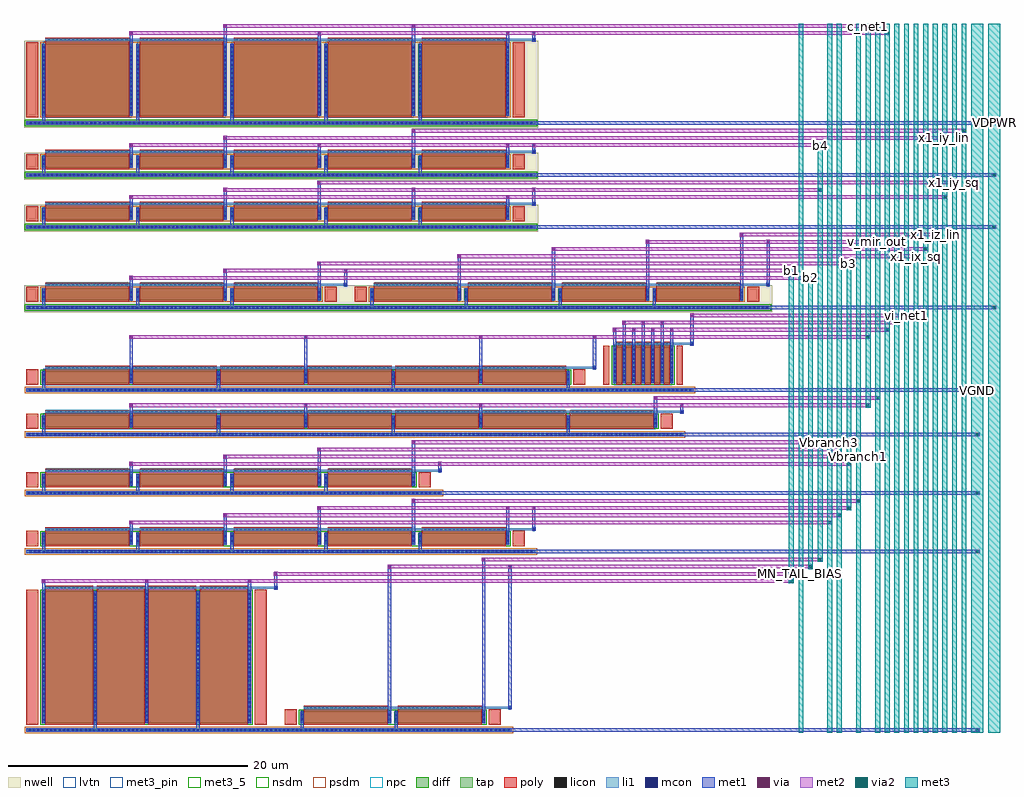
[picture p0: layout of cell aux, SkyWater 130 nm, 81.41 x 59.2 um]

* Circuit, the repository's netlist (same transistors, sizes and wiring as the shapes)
* NGSPICE file created from aux.ext - technology: sky130A

.subckt aux VDPWR VGND MN_TAIL_BIAS Vbranch1 Vbranch2 Vbranch3 x1_iy_lin x1_ix_lin
+ x1_iy_sq x1_ix_sq x1_iz_sq x1_iz_lin v_mir_out vi_vmir vi_net1 vi_net2
X0 vi_vmir vi_vmir VDPWR VDPWR sky130_fd_pr__pfet_01v8_lvt ad=1.74 pd=12.58 as=1.74 ps=12.58 w=6 l=7
X1 b3 b1 VDPWR VDPWR sky130_fd_pr__pfet_01v8 ad=0.29 pd=2.58 as=0.29 ps=2.58 w=1 l=7
X2 b3 b3 VGND VGND sky130_fd_pr__nfet_01v8 ad=0.29 pd=2.58 as=0.29 ps=2.58 w=1 l=7
X3 b2 b1 VDPWR VDPWR sky130_fd_pr__pfet_01v8 ad=0.29 pd=2.58 as=0.29 ps=2.58 w=1 l=7
X4 vi_vmir vi_net1 vi_net2 VGND sky130_fd_pr__nfet_01v8_lvt ad=0.435 pd=3.29 as=0.435 ps=3.29 w=3 l=0.5
X5 x1_ix_lin b4 VDPWR VDPWR sky130_fd_pr__pfet_01v8 ad=0.29 pd=2.58 as=0.29 ps=2.58 w=1 l=7
X6 VGND c_net1 c_net1 VGND sky130_fd_pr__nfet_01v8_lvt ad=0.29 pd=2.58 as=0.145 ps=1.29 w=1 l=7
X7 vi_net2 vi_net1 vi_vmir VGND sky130_fd_pr__nfet_01v8_lvt ad=0.435 pd=3.29 as=0.435 ps=3.29 w=3 l=0.5
X8 Vbranch2 b3 VGND VGND sky130_fd_pr__nfet_01v8 ad=0.29 pd=2.58 as=0.29 ps=2.58 w=1 l=7
X9 b3 b3 VGND VGND sky130_fd_pr__nfet_01v8 ad=0.29 pd=2.58 as=0.29 ps=2.58 w=1 l=7
X10 b4 b2 VGND VGND sky130_fd_pr__nfet_01v8 ad=0.29 pd=2.58 as=0.29 ps=2.58 w=1 l=7
X11 VGND c_net1 c_net1 VGND sky130_fd_pr__nfet_01v8_lvt ad=0.145 pd=1.29 as=0.145 ps=1.29 w=1 l=7
X12 VGND MN_TAIL_BIAS b1 VGND sky130_fd_pr__nfet_01v8 ad=1.595 pd=11.29 as=1.595 ps=11.29 w=11 l=4
X13 VGND c_net1 c_net1 VGND sky130_fd_pr__nfet_01v8_lvt ad=0.145 pd=1.29 as=0.145 ps=1.29 w=1 l=7
X14 x1_iy_sq b4 VDPWR VDPWR sky130_fd_pr__pfet_01v8 ad=0.29 pd=2.58 as=0.29 ps=2.58 w=1 l=7
X15 vi_net2 vi_net1 vi_vmir VGND sky130_fd_pr__nfet_01v8_lvt ad=0.435 pd=3.29 as=0.87 ps=6.58 w=3 l=0.5
X16 c_net1 c_net1 VGND VGND sky130_fd_pr__nfet_01v8_lvt ad=0.145 pd=1.29 as=0.145 ps=1.29 w=1 l=7
X17 Vbranch1 b3 VGND VGND sky130_fd_pr__nfet_01v8 ad=0.29 pd=2.58 as=0.29 ps=2.58 w=1 l=7
X18 x1_iy_lin b4 VDPWR VDPWR sky130_fd_pr__pfet_01v8 ad=0.29 pd=2.58 as=0.29 ps=2.58 w=1 l=7
X19 b1 b1 VDPWR VDPWR sky130_fd_pr__pfet_01v8 ad=0.29 pd=2.58 as=0.29 ps=2.58 w=1 l=7
X20 v_mir_out c_net1 VGND VGND sky130_fd_pr__nfet_01v8_lvt ad=0.29 pd=2.58 as=0.145 ps=1.29 w=1 l=7
X21 b4 b4 VDPWR VDPWR sky130_fd_pr__pfet_01v8 ad=0.29 pd=2.58 as=0.29 ps=2.58 w=1 l=7
X22 VGND c_net1 c_net1 VGND sky130_fd_pr__nfet_01v8_lvt ad=0.145 pd=1.29 as=0.145 ps=1.29 w=1 l=7
X23 x1_iz_lin v_mir_out VDPWR VDPWR sky130_fd_pr__pfet_01v8 ad=0.29 pd=2.58 as=0.29 ps=2.58 w=1 l=7
X24 b1 MN_TAIL_BIAS VGND VGND sky130_fd_pr__nfet_01v8 ad=1.595 pd=11.29 as=1.595 ps=11.29 w=11 l=4
X25 Vbranch1 b3 VGND VGND sky130_fd_pr__nfet_01v8 ad=0.29 pd=2.58 as=0.29 ps=2.58 w=1 l=7
X26 b4 b4 VDPWR VDPWR sky130_fd_pr__pfet_01v8 ad=0.29 pd=2.58 as=0.29 ps=2.58 w=1 l=7
X27 VGND c_net1 c_net1 VGND sky130_fd_pr__nfet_01v8_lvt ad=0.145 pd=1.29 as=0.145 ps=1.29 w=1 l=7
X28 x1_iy_lin b4 VDPWR VDPWR sky130_fd_pr__pfet_01v8 ad=0.29 pd=2.58 as=0.29 ps=2.58 w=1 l=7
X29 c_net1 c_net1 VGND VGND sky130_fd_pr__nfet_01v8_lvt ad=0.145 pd=1.29 as=0.29 ps=2.58 w=1 l=7
X30 vi_net2 vi_net1 vi_vmir VGND sky130_fd_pr__nfet_01v8_lvt ad=0.435 pd=3.29 as=0.435 ps=3.29 w=3 l=0.5
X31 b4 b4 VDPWR VDPWR sky130_fd_pr__pfet_01v8 ad=0.29 pd=2.58 as=0.29 ps=2.58 w=1 l=7
X32 c_net1 c_net1 VGND VGND sky130_fd_pr__nfet_01v8_lvt ad=0.145 pd=1.29 as=0.145 ps=1.29 w=1 l=7
X33 x1_iz_sq v_mir_out VDPWR VDPWR sky130_fd_pr__pfet_01v8 ad=0.29 pd=2.58 as=0.29 ps=2.58 w=1 l=7
X34 vi_vmir vi_vmir VDPWR VDPWR sky130_fd_pr__pfet_01v8_lvt ad=1.74 pd=12.58 as=1.74 ps=12.58 w=6 l=7
X35 vi_vmir vi_net1 vi_net2 VGND sky130_fd_pr__nfet_01v8_lvt ad=0.435 pd=3.29 as=0.435 ps=3.29 w=3 l=0.5
X36 Vbranch3 b3 VGND VGND sky130_fd_pr__nfet_01v8 ad=0.29 pd=2.58 as=0.29 ps=2.58 w=1 l=7
X37 VGND MN_TAIL_BIAS b1 VGND sky130_fd_pr__nfet_01v8 ad=1.595 pd=11.29 as=3.19 ps=22.58 w=11 l=4
X38 b4 b4 VDPWR VDPWR sky130_fd_pr__pfet_01v8 ad=0.29 pd=2.58 as=0.29 ps=2.58 w=1 l=7
X39 c_net1 vi_vmir VDPWR VDPWR sky130_fd_pr__pfet_01v8_lvt ad=1.74 pd=12.58 as=1.74 ps=12.58 w=6 l=7
X40 x1_iy_lin b4 VDPWR VDPWR sky130_fd_pr__pfet_01v8 ad=0.29 pd=2.58 as=0.29 ps=2.58 w=1 l=7
X41 vi_vmir vi_net1 vi_net2 VGND sky130_fd_pr__nfet_01v8_lvt ad=0.87 pd=6.58 as=0.435 ps=3.29 w=3 l=0.5
X42 vi_vmir vi_vmir VDPWR VDPWR sky130_fd_pr__pfet_01v8_lvt ad=1.74 pd=12.58 as=1.74 ps=12.58 w=6 l=7
X43 b3 b3 VGND VGND sky130_fd_pr__nfet_01v8 ad=0.29 pd=2.58 as=0.29 ps=2.58 w=1 l=7
X44 c_net1 vi_vmir VDPWR VDPWR sky130_fd_pr__pfet_01v8_lvt ad=1.74 pd=12.58 as=1.74 ps=12.58 w=6 l=7
X45 VGND c_net1 c_net1 VGND sky130_fd_pr__nfet_01v8_lvt ad=0.145 pd=1.29 as=0.145 ps=1.29 w=1 l=7
X46 c_net1 c_net1 VGND VGND sky130_fd_pr__nfet_01v8_lvt ad=0.145 pd=1.29 as=0.29 ps=2.58 w=1 l=7
X47 c_net1 c_net1 VGND VGND sky130_fd_pr__nfet_01v8_lvt ad=0.145 pd=1.29 as=0.145 ps=1.29 w=1 l=7
X48 Vbranch3 b3 VGND VGND sky130_fd_pr__nfet_01v8 ad=0.29 pd=2.58 as=0.29 ps=2.58 w=1 l=7
X49 b1 MN_TAIL_BIAS VGND VGND sky130_fd_pr__nfet_01v8 ad=3.19 pd=22.58 as=1.595 ps=11.29 w=11 l=4
X50 b2 b2 VGND VGND sky130_fd_pr__nfet_01v8 ad=0.29 pd=2.58 as=0.29 ps=2.58 w=1 l=7
X51 x1_ix_sq v_mir_out VDPWR VDPWR sky130_fd_pr__pfet_01v8 ad=0.29 pd=2.58 as=0.29 ps=2.58 w=1 l=7
X52 b4 b4 VDPWR VDPWR sky130_fd_pr__pfet_01v8 ad=0.29 pd=2.58 as=0.29 ps=2.58 w=1 l=7
X53 v_mir_out v_mir_out VDPWR VDPWR sky130_fd_pr__pfet_01v8 ad=0.29 pd=2.58 as=0.29 ps=2.58 w=1 l=7
X54 c_net1 c_net1 VGND VGND sky130_fd_pr__nfet_01v8_lvt ad=0.145 pd=1.29 as=0.145 ps=1.29 w=1 l=7
X55 Vbranch2 b3 VGND VGND sky130_fd_pr__nfet_01v8 ad=0.29 pd=2.58 as=0.29 ps=2.58 w=1 l=7
.ends

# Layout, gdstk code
import gdstk
lib = gdstk.Library(unit=1e-6, precision=1e-09)
def R(c, l, rs):  # rectangles x0, y0, x1, y1
    for r in rs: c.add(gdstk.rectangle(r[:2], r[2:], *l))
def A(c, l, x, y, w, h, nx, ny, dx, dy):  # array of equal rectangles
    R(c, l, [(x+i*dx, y+j*dy, x+i*dx+w, y+j*dy+h) for i in range(nx) for j in range(ny)])
nwell = (64, 20)
diff = (65, 20)
tap = (65, 44)
poly = (66, 20)
licon = (66, 44)
li1 = (67, 20)
mcon = (67, 44)
met1 = (68, 20)
via = (68, 44)
met2 = (69, 20)
via2 = (69, 44)
met3_5 = (70, 5)
met3_pin = (70, 16)
met3 = (70, 20)
nsdm = (93, 44)
psdm = (94, 20)
npc = (95, 20)
lvtn = (125, 44)

aux = lib.new_cell('aux')
R(aux, nwell, [(-0.2,35.455,62.21,37.695), (-0.2,42.19,42.68,44.43), (-0.2,46.525,42.68,48.765), (-0.2,50.86,42.68,58.1)])
A(aux, diff, 1.3, 16.085, 7.58, 1, 5, 2, 7.85, 27.095)
A(aux, diff, 1.3, 20.975, 7.58, 1, 4, 1, 7.85, 0)
A(aux, diff, 1.3, 36.445, 7.58, 1, 3, 1, 7.85, 0)
A(aux, diff, 28.68, 36.445, 7.58, 1, 4, 1, 7.85, 0)
A(aux, diff, 1.3, 47.515, 7.58, 1, 5, 1, 7.85, 0)
A(aux, diff, 1.3, 51.85, 7.58, 6, 5, 1, 7.85, 0)
R(aux, diff, [(1.3,1.195,18.75,12.195), (22.85,1.195,30.43,2.195), (30.7,1.195,38.28,2.195), (1.3,25.865,52.62,26.865), (1.3,29.555,45.33,30.555), (48.93,29.555,53.96,32.555)])
A(aux, tap, 0, 42.44, 42.48, 0.29, 1, 3, 0, 4.335)
R(aux, tap, [(0,0.455,40.48,0.745), (0,15.345,42.48,15.635), (0,20.235,34.63,20.525), (0,25.125,54.82,25.415), (0,28.815,55.66,29.105), (0,35.705,62.01,35.995)])
A(aux, poly, 1.59, 1.065, 4, 11.57, 4, 1, 4.29, 0)
A(aux, poly, 0, 15.955, 1, 1.26, 1, 3, 0, 4.89)
A(aux, poly, 1.59, 15.955, 7, 1.57, 5, 1, 7.85, 0)
A(aux, poly, 1.59, 20.845, 7, 1.57, 4, 1, 7.85, 0)
A(aux, poly, 1.59, 25.735, 7, 1.57, 7, 1, 7.29, 0)
A(aux, poly, 1.59, 29.425, 7, 1.57, 6, 1, 7.29, 0)
A(aux, poly, 49.22, 29.425, 0.5, 3.57, 6, 1, 0.79, 0)
A(aux, poly, 1.59, 36.315, 7, 1.615, 3, 1, 7.85, 0)
A(aux, poly, 28.97, 36.315, 7, 1.615, 4, 1, 7.85, 0)
A(aux, poly, 1.59, 43.05, 7, 1.615, 5, 2, 7.85, 4.335)
A(aux, poly, 1.59, 51.72, 7, 6.615, 5, 1, 7.85, 0)
R(aux, poly, [(0,1.065,1,12.325), (19.05,1.065,20.05,12.325), (21.55,1.065,22.55,2.325), (23.14,1.065,30.14,2.635), (30.99,1.065,37.99,2.635), (38.58,1.065,39.58,2.325), (40.58,15.955,41.58,17.215), (32.73,20.845,33.73,22.105), (52.92,25.735,53.92,26.995), (0,29.425,1,30.685), (45.63,29.425,46.63,30.685), (48.13,29.425,48.63,32.685), (54.26,29.425,54.76,32.685), (0,36.315,1,37.575), (24.88,36.315,25.88,37.575), (27.38,36.315,28.38,37.575), (60.11,36.315,61.11,37.575), (0,43.05,1,44.31), (40.58,43.05,41.58,44.31), (0,47.385,1,48.645), (40.58,47.385,41.58,48.645), (0,51.72,1,57.98), (40.58,51.72,41.58,57.98)])
A(aux, licon, 0.265, 0.515, 0.17, 0.17, 118, 1, 0.34, 0)
A(aux, licon, 22.91, 1.27, 0.17, 0.17, 1, 3, 0, 0.34)
A(aux, licon, 30.2, 1.27, 0.17, 0.17, 1, 3, 0, 0.34)
A(aux, licon, 30.76, 1.27, 0.17, 0.17, 1, 3, 0, 0.34)
A(aux, licon, 38.05, 1.27, 0.17, 0.17, 1, 3, 0, 0.34)
A(aux, licon, 1.36, 1.34, 0.17, 0.17, 5, 32, 4.29, 0.34)
A(aux, licon, 23.325, 2.385, 0.17, 0.17, 20, 1, 0.34, 0)
A(aux, licon, 31.175, 2.385, 0.17, 0.17, 20, 1, 0.34, 0)
A(aux, licon, 1.805, 12.385, 0.17, 0.17, 11, 1, 0.34, 0)
A(aux, licon, 6.095, 12.385, 0.17, 0.17, 11, 1, 0.34, 0)
A(aux, licon, 10.385, 12.385, 0.17, 0.17, 11, 1, 0.34, 0)
A(aux, licon, 14.675, 12.385, 0.17, 0.17, 11, 1, 0.34, 0)
A(aux, licon, 0.245, 15.405, 0.17, 0.17, 124, 2, 0.34, 27.095)
A(aux, licon, 1.36, 16.16, 0.17, 0.17, 1, 3, 0, 0.34)
A(aux, licon, 8.65, 16.16, 0.17, 0.17, 1, 3, 0, 0.34)
A(aux, licon, 9.21, 16.16, 0.17, 0.17, 1, 3, 0, 0.34)
A(aux, licon, 16.5, 16.16, 0.17, 0.17, 1, 3, 0, 0.34)
A(aux, licon, 17.06, 16.16, 0.17, 0.17, 1, 3, 0, 0.34)
A(aux, licon, 24.35, 16.16, 0.17, 0.17, 1, 3, 0, 0.34)
A(aux, licon, 24.91, 16.16, 0.17, 0.17, 1, 3, 0, 0.34)
A(aux, licon, 32.2, 16.16, 0.17, 0.17, 1, 3, 0, 0.34)
A(aux, licon, 32.76, 16.16, 0.17, 0.17, 1, 3, 0, 0.34)
A(aux, licon, 40.05, 16.16, 0.17, 0.17, 1, 3, 0, 0.34)
A(aux, licon, 1.775, 17.275, 0.17, 0.17, 20, 3, 0.34, 4.89)
A(aux, licon, 9.625, 17.275, 0.17, 0.17, 20, 2, 0.34, 4.89)
A(aux, licon, 17.475, 17.275, 0.17, 0.17, 20, 2, 0.34, 4.89)
A(aux, licon, 25.325, 17.275, 0.17, 0.17, 20, 2, 0.34, 4.89)
A(aux, licon, 33.175, 17.275, 0.17, 0.17, 20, 2, 0.34, 27.14)
A(aux, licon, 0.23, 20.295, 0.17, 0.17, 101, 1, 0.34, 0)
A(aux, licon, 1.36, 21.05, 0.17, 0.17, 1, 3, 0, 0.34)
A(aux, licon, 8.65, 21.05, 0.17, 0.17, 1, 3, 0, 0.34)
A(aux, licon, 9.21, 21.05, 0.17, 0.17, 1, 3, 0, 0.34)
A(aux, licon, 16.5, 21.05, 0.17, 0.17, 1, 3, 0, 0.34)
A(aux, licon, 17.06, 21.05, 0.17, 0.17, 1, 3, 0, 0.34)
A(aux, licon, 24.35, 21.05, 0.17, 0.17, 1, 3, 0, 0.34)
A(aux, licon, 24.91, 21.05, 0.17, 0.17, 1, 3, 0, 0.34)
A(aux, licon, 32.2, 21.05, 0.17, 0.17, 1, 3, 0, 0.34)
A(aux, licon, 0.125, 25.185, 0.17, 0.17, 161, 1, 0.34, 0)
A(aux, licon, 1.36, 25.94, 0.17, 0.17, 8, 3, 7.29, 0.34)
A(aux, licon, 9.065, 27.055, 0.17, 0.17, 20, 2, 0.34, 3.69)
A(aux, licon, 16.355, 27.055, 0.17, 0.17, 20, 2, 0.34, 3.69)
A(aux, licon, 23.645, 27.055, 0.17, 0.17, 20, 2, 0.34, 3.69)
A(aux, licon, 30.935, 27.055, 0.17, 0.17, 20, 2, 0.34, 3.69)
A(aux, licon, 38.225, 27.055, 0.17, 0.17, 20, 2, 0.34, 3.69)
A(aux, licon, 45.515, 27.055, 0.17, 0.17, 20, 1, 0.34, 0)
A(aux, licon, 0.205, 28.875, 0.17, 0.17, 163, 1, 0.34, 0)
A(aux, licon, 1.36, 29.63, 0.17, 0.17, 7, 3, 7.29, 0.34)
A(aux, licon, 48.99, 29.78, 0.17, 0.17, 7, 8, 0.79, 0.34)
A(aux, licon, 1.775, 30.745, 0.17, 0.17, 20, 2, 0.34, 6.935)
A(aux, licon, 49.385, 32.745, 0.17, 0.17, 6, 1, 0.79, 0)
A(aux, licon, 0.15, 35.765, 0.17, 0.17, 182, 1, 0.34, 0)
A(aux, licon, 1.36, 36.52, 0.17, 0.17, 1, 3, 0, 0.34)
A(aux, licon, 8.65, 36.52, 0.17, 0.17, 1, 3, 0, 0.34)
A(aux, licon, 9.21, 36.52, 0.17, 0.17, 1, 3, 0, 0.34)
A(aux, licon, 16.5, 36.52, 0.17, 0.17, 1, 3, 0, 0.34)
A(aux, licon, 17.06, 36.52, 0.17, 0.17, 1, 3, 0, 0.34)
A(aux, licon, 24.35, 36.52, 0.17, 0.17, 1, 3, 0, 0.34)
A(aux, licon, 28.74, 36.52, 0.17, 0.17, 1, 3, 0, 0.34)
A(aux, licon, 36.03, 36.52, 0.17, 0.17, 1, 3, 0, 0.34)
A(aux, licon, 36.59, 36.52, 0.17, 0.17, 1, 3, 0, 0.34)
A(aux, licon, 43.88, 36.52, 0.17, 0.17, 1, 3, 0, 0.34)
A(aux, licon, 44.44, 36.52, 0.17, 0.17, 1, 3, 0, 0.34)
A(aux, licon, 51.73, 36.52, 0.17, 0.17, 1, 3, 0, 0.34)
A(aux, licon, 52.29, 36.52, 0.17, 0.17, 1, 3, 0, 0.34)
A(aux, licon, 59.58, 36.52, 0.17, 0.17, 1, 3, 0, 0.34)
A(aux, licon, 9.625, 37.68, 0.17, 0.17, 20, 2, 0.34, 6.735)
A(aux, licon, 17.475, 37.68, 0.17, 0.17, 20, 2, 0.34, 6.735)
A(aux, licon, 29.155, 37.68, 0.17, 0.17, 20, 1, 0.34, 0)
A(aux, licon, 37.005, 37.68, 0.17, 0.17, 20, 1, 0.34, 0)
A(aux, licon, 44.855, 37.68, 0.17, 0.17, 20, 1, 0.34, 0)
A(aux, licon, 52.705, 37.68, 0.17, 0.17, 20, 1, 0.34, 0)
A(aux, licon, 1.36, 43.255, 0.17, 0.17, 1, 3, 0, 0.34)
A(aux, licon, 8.65, 43.255, 0.17, 0.17, 1, 3, 0, 0.34)
A(aux, licon, 9.21, 43.255, 0.17, 0.17, 1, 3, 0, 0.34)
A(aux, licon, 16.5, 43.255, 0.17, 0.17, 1, 3, 0, 0.34)
A(aux, licon, 17.06, 43.255, 0.17, 0.17, 1, 3, 0, 0.34)
A(aux, licon, 24.35, 43.255, 0.17, 0.17, 1, 3, 0, 0.34)
A(aux, licon, 24.91, 43.255, 0.17, 0.17, 1, 3, 0, 0.34)
A(aux, licon, 32.2, 43.255, 0.17, 0.17, 1, 3, 0, 0.34)
A(aux, licon, 32.76, 43.255, 0.17, 0.17, 1, 3, 0, 0.34)
A(aux, licon, 40.05, 43.255, 0.17, 0.17, 1, 3, 0, 0.34)
A(aux, licon, 1.775, 44.415, 0.17, 0.17, 20, 2, 0.34, 4.335)
A(aux, licon, 25.325, 44.415, 0.17, 0.17, 20, 2, 0.34, 4.335)
A(aux, licon, 0.245, 46.835, 0.17, 0.17, 124, 2, 0.34, 4.335)
A(aux, licon, 1.36, 47.59, 0.17, 0.17, 1, 3, 0, 0.34)
A(aux, licon, 8.65, 47.59, 0.17, 0.17, 1, 3, 0, 0.34)
A(aux, licon, 9.21, 47.59, 0.17, 0.17, 1, 3, 0, 0.34)
A(aux, licon, 16.5, 47.59, 0.17, 0.17, 1, 3, 0, 0.34)
A(aux, licon, 17.06, 47.59, 0.17, 0.17, 1, 3, 0, 0.34)
A(aux, licon, 24.35, 47.59, 0.17, 0.17, 1, 3, 0, 0.34)
A(aux, licon, 24.91, 47.59, 0.17, 0.17, 1, 3, 0, 0.34)
A(aux, licon, 32.2, 47.59, 0.17, 0.17, 1, 3, 0, 0.34)
A(aux, licon, 32.76, 47.59, 0.17, 0.17, 1, 3, 0, 0.34)
A(aux, licon, 40.05, 47.59, 0.17, 0.17, 1, 3, 0, 0.34)
A(aux, licon, 9.625, 48.75, 0.17, 0.17, 20, 2, 0.34, 9.335)
A(aux, licon, 17.475, 48.75, 0.17, 0.17, 20, 2, 0.34, 9.335)
A(aux, licon, 33.175, 48.75, 0.17, 0.17, 20, 2, 0.34, 9.335)
A(aux, licon, 1.36, 52.045, 0.17, 0.17, 1, 17, 0, 0.34)
A(aux, licon, 8.65, 52.045, 0.17, 0.17, 1, 17, 0, 0.34)
A(aux, licon, 9.21, 52.045, 0.17, 0.17, 1, 17, 0, 0.34)
A(aux, licon, 16.5, 52.045, 0.17, 0.17, 1, 17, 0, 0.34)
A(aux, licon, 17.06, 52.045, 0.17, 0.17, 1, 17, 0, 0.34)
A(aux, licon, 24.35, 52.045, 0.17, 0.17, 1, 17, 0, 0.34)
A(aux, licon, 24.91, 52.045, 0.17, 0.17, 1, 17, 0, 0.34)
A(aux, licon, 32.2, 52.045, 0.17, 0.17, 1, 17, 0, 0.34)
A(aux, licon, 32.76, 52.045, 0.17, 0.17, 1, 17, 0, 0.34)
A(aux, licon, 40.05, 52.045, 0.17, 0.17, 1, 17, 0, 0.34)
A(aux, licon, 1.775, 58.085, 0.17, 0.17, 20, 1, 0.34, 0)
A(aux, licon, 25.325, 58.085, 0.17, 0.17, 20, 1, 0.34, 0)
A(aux, li1, 1.36, 1.175, 0.17, 11.04, 5, 1, 4.29, 0)
A(aux, li1, 1.36, 25.845, 0.17, 1.04, 8, 1, 7.29, 0)
A(aux, li1, 1.36, 29.535, 0.17, 1.04, 7, 1, 7.29, 0)
A(aux, li1, 48.99, 29.535, 0.17, 3.04, 7, 1, 0.79, 0)
A(aux, li1, 0, 42.5, 42.48, 0.17, 1, 3, 0, 4.335)
R(aux, li1, [(0,0.515,40.48,0.685), (22.91,1.175,23.08,2.215), (30.2,1.175,30.37,2.215), (30.76,1.175,30.93,2.215), (38.05,1.175,38.22,2.215), (40.25,2.305,40.42,2.385), (23.14,2.385,40.48,2.555), (40.25,2.555,40.42,2.635), (20.72,12.305,20.89,12.385), (1.59,12.385,20.95,12.555), (20.72,12.555,20.89,12.635), (0,15.405,42.48,15.575), (1.36,16.065,1.53,17.105), (8.65,16.065,8.82,17.105), (9.21,16.065,9.38,17.105), (16.5,16.065,16.67,17.105), (17.06,16.065,17.23,17.105), (24.35,16.065,24.52,17.105), (24.91,16.065,25.08,17.105), (32.2,16.065,32.37,17.105), (32.76,16.065,32.93,17.105), (40.05,16.065,40.22,17.105), (42.25,17.195,42.42,17.275), (1.59,17.275,42.48,17.445), (42.25,17.445,42.42,17.525), (0,20.295,34.63,20.465), (1.36,20.955,1.53,21.995), (8.65,20.955,8.82,21.995), (9.21,20.955,9.38,21.995), (16.5,20.955,16.67,21.995), (17.06,20.955,17.23,21.995), (24.35,20.955,24.52,21.995), (24.91,20.955,25.08,21.995), (32.2,20.955,32.37,21.995), (34.4,22.085,34.57,22.165), (1.59,22.165,34.63,22.335), (34.4,22.335,34.57,22.415), (0,25.185,54.82,25.355), (54.59,26.975,54.76,27.055), (1.59,27.055,54.82,27.225), (54.59,27.225,54.76,27.305), (0,28.875,55.66,29.045), (47.3,30.665,47.47,30.745), (1.59,30.745,47.53,30.915), (47.3,30.915,47.47,30.995), (55.43,32.665,55.6,32.745), (49.22,32.745,55.66,32.915), (55.43,32.915,55.6,32.995), (0,35.765,62.01,35.935), (1.36,36.425,1.53,37.465), (8.65,36.425,8.82,37.465), (9.21,36.425,9.38,37.465), (16.5,36.425,16.67,37.465), (17.06,36.425,17.23,37.465), (24.35,36.425,24.52,37.465), (28.74,36.425,28.91,37.465), (36.03,36.425,36.2,37.465), (36.59,36.425,36.76,37.465), (43.88,36.425,44.05,37.465), (44.44,36.425,44.61,37.465), (51.73,36.425,51.9,37.465), (52.29,36.425,52.46,37.465), (59.58,36.425,59.75,37.465), (26.55,37.6,26.72,37.68), (61.78,37.6,61.95,37.68), (1.59,37.68,26.78,37.85), (28.97,37.68,62.01,37.85), (26.55,37.85,26.72,37.93), (61.78,37.85,61.95,37.93), (1.36,43.16,1.53,44.2), (8.65,43.16,8.82,44.2), (9.21,43.16,9.38,44.2), (16.5,43.16,16.67,44.2), (17.06,43.16,17.23,44.2), (24.35,43.16,24.52,44.2), (24.91,43.16,25.08,44.2), (32.2,43.16,32.37,44.2), (32.76,43.16,32.93,44.2), (40.05,43.16,40.22,44.2), (42.25,44.335,42.42,44.415), (1.59,44.415,42.48,44.585), (42.25,44.585,42.42,44.665), (1.36,47.495,1.53,48.535), (8.65,47.495,8.82,48.535), (9.21,47.495,9.38,48.535), (16.5,47.495,16.67,48.535), (17.06,47.495,17.23,48.535), (24.35,47.495,24.52,48.535), (24.91,47.495,25.08,48.535), (32.2,47.495,32.37,48.535), (32.76,47.495,32.93,48.535), (40.05,47.495,40.22,48.535), (42.25,48.67,42.42,48.75), (1.59,48.75,42.48,48.92), (42.25,48.92,42.42,49), (1.36,51.83,1.53,57.87), (8.65,51.83,8.82,57.87), (9.21,51.83,9.38,57.87), (16.5,51.83,16.67,57.87), (17.06,51.83,17.23,57.87), (24.35,51.83,24.52,57.87), (24.91,51.83,25.08,57.87), (32.2,51.83,32.37,57.87), (32.76,51.83,32.93,57.87), (40.05,51.83,40.22,57.87), (42.25,58.005,42.42,58.085), (1.59,58.085,42.48,58.255), (42.25,58.255,42.42,58.335)])
A(aux, mcon, 0.175, 0.515, 0.17, 0.17, 112, 1, 0.36, 0)
A(aux, mcon, 1.36, 1.39, 0.17, 0.17, 5, 30, 4.29, 0.36)
A(aux, mcon, 0.275, 15.405, 0.17, 0.17, 117, 2, 0.36, 27.095)
A(aux, mcon, 0.13, 20.295, 0.17, 0.17, 96, 1, 0.36, 0)
A(aux, mcon, 0.145, 25.185, 0.17, 0.17, 152, 1, 0.36, 0)
A(aux, mcon, 1.36, 26.1, 0.17, 0.17, 8, 2, 7.29, 0.36)
A(aux, mcon, 0.205, 28.875, 0.17, 0.17, 154, 1, 0.36, 0)
A(aux, mcon, 48.99, 29.71, 0.17, 0.17, 7, 8, 0.79, 0.36)
A(aux, mcon, 1.36, 29.79, 0.17, 0.17, 7, 2, 7.29, 0.36)
A(aux, mcon, 0.14, 35.765, 0.17, 0.17, 172, 1, 0.36, 0)
A(aux, mcon, 0.275, 46.835, 0.17, 0.17, 117, 2, 0.36, 4.335)
A(aux, mcon, 1.36, 52.065, 0.17, 0.17, 1, 16, 0, 0.36)
A(aux, mcon, 8.65, 52.065, 0.17, 0.17, 1, 16, 0, 0.36)
A(aux, mcon, 9.21, 52.065, 0.17, 0.17, 1, 16, 0, 0.36)
A(aux, mcon, 16.5, 52.065, 0.17, 0.17, 1, 16, 0, 0.36)
A(aux, mcon, 17.06, 52.065, 0.17, 0.17, 1, 16, 0, 0.36)
A(aux, mcon, 24.35, 52.065, 0.17, 0.17, 1, 16, 0, 0.36)
A(aux, mcon, 24.91, 52.065, 0.17, 0.17, 1, 16, 0, 0.36)
A(aux, mcon, 32.2, 52.065, 0.17, 0.17, 1, 16, 0, 0.36)
A(aux, mcon, 32.76, 52.065, 0.17, 0.17, 1, 16, 0, 0.36)
A(aux, mcon, 40.05, 52.065, 0.17, 0.17, 1, 16, 0, 0.36)
R(aux, mcon, [(22.91,1.43,23.08,1.6), (30.2,1.43,30.37,1.6), (30.76,1.43,30.93,1.6), (38.05,1.43,38.22,1.6), (22.91,1.79,23.08,1.96), (30.2,1.79,30.37,1.96), (30.76,1.79,30.93,1.96), (38.05,1.79,38.22,1.96), (40.25,2.385,40.42,2.555), (20.72,12.385,20.89,12.555), (1.36,16.32,1.53,16.49), (8.65,16.32,8.82,16.49), (9.21,16.32,9.38,16.49), (16.5,16.32,16.67,16.49), (17.06,16.32,17.23,16.49), (24.35,16.32,24.52,16.49), (24.91,16.32,25.08,16.49), (32.2,16.32,32.37,16.49), (32.76,16.32,32.93,16.49), (40.05,16.32,40.22,16.49), (1.36,16.68,1.53,16.85), (8.65,16.68,8.82,16.85), (9.21,16.68,9.38,16.85), (16.5,16.68,16.67,16.85), (17.06,16.68,17.23,16.85), (24.35,16.68,24.52,16.85), (24.91,16.68,25.08,16.85), (32.2,16.68,32.37,16.85), (32.76,16.68,32.93,16.85), (40.05,16.68,40.22,16.85), (42.25,17.275,42.42,17.445), (1.36,21.21,1.53,21.38), (8.65,21.21,8.82,21.38), (9.21,21.21,9.38,21.38), (16.5,21.21,16.67,21.38), (17.06,21.21,17.23,21.38), (24.35,21.21,24.52,21.38), (24.91,21.21,25.08,21.38), (32.2,21.21,32.37,21.38), (1.36,21.57,1.53,21.74), (8.65,21.57,8.82,21.74), (9.21,21.57,9.38,21.74), (16.5,21.57,16.67,21.74), (17.06,21.57,17.23,21.74), (24.35,21.57,24.52,21.74), (24.91,21.57,25.08,21.74), (32.2,21.57,32.37,21.74), (34.4,22.165,34.57,22.335), (54.59,27.055,54.76,27.225), (47.3,30.745,47.47,30.915), (55.43,32.745,55.6,32.915), (1.36,36.68,1.53,36.85), (8.65,36.68,8.82,36.85), (9.21,36.68,9.38,36.85), (16.5,36.68,16.67,36.85), (17.06,36.68,17.23,36.85), (24.35,36.68,24.52,36.85), (28.74,36.68,28.91,36.85), (36.03,36.68,36.2,36.85), (36.59,36.68,36.76,36.85), (43.88,36.68,44.05,36.85), (44.44,36.68,44.61,36.85), (51.73,36.68,51.9,36.85), (52.29,36.68,52.46,36.85), (59.58,36.68,59.75,36.85), (1.36,37.04,1.53,37.21), (8.65,37.04,8.82,37.21), (9.21,37.04,9.38,37.21), (16.5,37.04,16.67,37.21), (17.06,37.04,17.23,37.21), (24.35,37.04,24.52,37.21), (28.74,37.04,28.91,37.21), (36.03,37.04,36.2,37.21), (36.59,37.04,36.76,37.21), (43.88,37.04,44.05,37.21), (44.44,37.04,44.61,37.21), (51.73,37.04,51.9,37.21), (52.29,37.04,52.46,37.21), (59.58,37.04,59.75,37.21), (26.55,37.68,26.72,37.85), (61.78,37.68,61.95,37.85), (1.36,43.415,1.53,43.585), (8.65,43.415,8.82,43.585), (9.21,43.415,9.38,43.585), (16.5,43.415,16.67,43.585), (17.06,43.415,17.23,43.585), (24.35,43.415,24.52,43.585), (24.91,43.415,25.08,43.585), (32.2,43.415,32.37,43.585), (32.76,43.415,32.93,43.585), (40.05,43.415,40.22,43.585), (1.36,43.775,1.53,43.945), (8.65,43.775,8.82,43.945), (9.21,43.775,9.38,43.945), (16.5,43.775,16.67,43.945), (17.06,43.775,17.23,43.945), (24.35,43.775,24.52,43.945), (24.91,43.775,25.08,43.945), (32.2,43.775,32.37,43.945), (32.76,43.775,32.93,43.945), (40.05,43.775,40.22,43.945), (42.25,44.415,42.42,44.585), (1.36,47.75,1.53,47.92), (8.65,47.75,8.82,47.92), (9.21,47.75,9.38,47.92), (16.5,47.75,16.67,47.92), (17.06,47.75,17.23,47.92), (24.35,47.75,24.52,47.92), (24.91,47.75,25.08,47.92), (32.2,47.75,32.37,47.92), (32.76,47.75,32.93,47.92), (40.05,47.75,40.22,47.92), (1.36,48.11,1.53,48.28), (8.65,48.11,8.82,48.28), (9.21,48.11,9.38,48.28), (16.5,48.11,16.67,48.28), (17.06,48.11,17.23,48.28), (24.35,48.11,24.52,48.28), (24.91,48.11,25.08,48.28), (32.2,48.11,32.37,48.28), (32.76,48.11,32.93,48.28), (40.05,48.11,40.22,48.28), (42.25,48.75,42.42,48.92), (42.25,58.085,42.42,58.255)])
A(aux, met1, 1.315, 1.195, 0.26, 12, 3, 1, 8.58, 0)
A(aux, met1, 0, 15.345, 79.51, 0.29, 1, 3, 0, 4.89)
A(aux, met1, 1.315, 15.635, 0.26, 1.45, 5, 2, 7.85, 27.095)
A(aux, met1, 1.315, 20.525, 0.26, 1.45, 4, 1, 7.85, 0)
A(aux, met1, 1.315, 25.415, 0.26, 1.45, 4, 2, 14.58, 3.69)
A(aux, met1, 8.605, 25.865, 0.26, 2, 3, 1, 14.58, 0)
A(aux, met1, 8.605, 29.555, 0.26, 4, 3, 1, 14.58, 0)
A(aux, met1, 48.945, 29.555, 0.26, 4.6, 4, 1, 1.58, 0)
A(aux, met1, 49.735, 29.555, 0.26, 5.2, 3, 1, 1.58, 0)
A(aux, met1, 1.315, 35.995, 0.26, 1.45, 3, 1, 7.85, 0)
A(aux, met1, 28.695, 35.995, 0.26, 1.45, 4, 1, 7.85, 0)
A(aux, met1, 0, 42.44, 80.91, 0.29, 1, 3, 0, 4.335)
A(aux, met1, 1.315, 47.065, 0.26, 1.45, 5, 1, 7.85, 0)
A(aux, met1, 8.605, 47.515, 0.26, 2.045, 3, 1, 15.7, 0)
A(aux, met1, 1.315, 51.4, 0.26, 6.45, 5, 1, 7.85, 0)
A(aux, met1, 8.605, 51.85, 0.26, 7.045, 3, 1, 15.7, 0)
R(aux, met1, [(0,0.455,79.51,0.745), (5.605,0.745,5.865,12.195), (14.185,0.745,14.445,12.195), (22.865,0.745,23.125,2.195), (30.715,0.745,30.975,2.195), (30.155,1.195,30.415,14.395), (38.005,1.195,38.265,14.995), (40.19,2.325,40.48,2.615), (40.205,2.615,40.465,14.395), (20.66,12.325,20.95,12.615), (20.675,12.615,20.935,13.795), (8.605,16.085,8.865,18.085), (16.455,16.085,16.715,18.685), (24.305,16.085,24.565,19.285), (32.155,16.085,32.415,19.885), (40.005,16.085,40.265,19.285), (42.19,17.215,42.48,17.505), (42.205,17.505,42.465,19.285), (8.605,20.975,8.865,22.975), (16.455,20.975,16.715,23.575), (24.305,20.975,24.565,24.175), (32.155,20.975,32.415,24.775), (34.34,22.105,34.63,22.395), (34.355,22.395,34.615,22.975), (52.345,25.865,52.605,28.465), (54.53,26.995,54.82,27.285), (54.545,27.285,54.805,27.865), (0,28.815,79.51,29.105), (47.24,30.685,47.53,30.975), (47.255,30.975,47.515,33.555), (55.37,32.685,55.66,32.975), (55.385,32.975,55.645,35.355), (0,35.705,80.91,35.995), (8.605,36.445,8.865,38.49), (16.455,36.445,16.715,39.09), (24.305,36.445,24.565,39.69), (35.985,36.445,36.245,40.29), (43.835,36.445,44.095,40.89), (51.685,36.445,51.945,41.49), (59.535,36.445,59.795,42.09), (26.49,37.62,26.78,37.91), (61.72,37.62,62.01,37.91), (26.505,37.91,26.765,39.09), (61.735,37.91,61.995,41.49), (8.605,43.18,8.865,45.225), (16.455,43.18,16.715,45.825), (24.305,43.18,24.565,46.425), (32.155,43.18,32.415,45.825), (40.005,43.18,40.265,45.225), (42.19,44.355,42.48,44.645), (42.205,44.645,42.465,45.825), (16.455,47.515,16.715,50.16), (32.155,47.515,32.415,50.76), (42.19,48.69,42.48,48.98), (42.205,48.98,42.465,49.56), (16.455,51.85,16.715,59.495), (32.155,51.85,32.415,59.495), (42.19,58.025,42.48,58.315), (42.205,58.315,42.465,58.895)])
A(aux, via, 1.37, 12.96, 0.15, 0.15, 3, 1, 8.58, 0)
A(aux, via, 79.235, 15.415, 0.15, 0.15, 1, 3, 0, 4.89)
A(aux, via, 8.66, 27.63, 0.15, 0.15, 3, 2, 14.58, 5.69)
A(aux, via, 49, 33.92, 0.15, 0.15, 4, 1, 1.58, 0)
A(aux, via, 49.79, 34.52, 0.15, 0.15, 3, 1, 1.58, 0)
A(aux, via, 80.635, 42.51, 0.15, 0.15, 1, 3, 0, 4.335)
A(aux, via, 8.66, 49.325, 0.15, 0.15, 3, 2, 15.7, 9.335)
R(aux, via, [(79.235,0.525,79.385,0.675), (20.73,13.56,20.88,13.71), (30.21,14.16,30.36,14.31), (40.26,14.16,40.41,14.31), (38.06,14.76,38.21,14.91), (8.66,17.85,8.81,18), (16.51,18.45,16.66,18.6), (24.36,19.05,24.51,19.2), (40.06,19.05,40.21,19.2), (42.26,19.05,42.41,19.2), (32.21,19.65,32.36,19.8), (8.66,22.74,8.81,22.89), (34.41,22.74,34.56,22.89), (16.51,23.34,16.66,23.49), (24.36,23.94,24.51,24.09), (32.21,24.54,32.36,24.69), (54.6,27.63,54.75,27.78), (52.4,28.23,52.55,28.38), (79.235,28.885,79.385,29.035), (47.31,33.32,47.46,33.47), (55.44,35.12,55.59,35.27), (80.635,35.775,80.785,35.925), (8.66,38.255,8.81,38.405), (16.51,38.855,16.66,39.005), (26.56,38.855,26.71,39.005), (24.36,39.455,24.51,39.605), (36.04,40.055,36.19,40.205), (43.89,40.655,44.04,40.805), (51.74,41.255,51.89,41.405), (61.79,41.255,61.94,41.405), (59.59,41.855,59.74,42.005), (8.66,44.99,8.81,45.14), (40.06,44.99,40.21,45.14), (16.51,45.59,16.66,45.74), (32.21,45.59,32.36,45.74), (42.26,45.59,42.41,45.74), (24.36,46.19,24.51,46.34), (42.26,49.325,42.41,49.475), (16.51,49.925,16.66,50.075), (32.21,50.525,32.36,50.675), (42.26,58.66,42.41,58.81), (16.51,59.26,16.66,59.41), (32.21,59.26,32.36,59.41)])
A(aux, met2, 1.295, 12.875, 0.3, 0.01, 3, 2, 8.58, 0.31)
A(aux, met2, 79.125, 15.34, 0.37, 0.3, 1, 3, 0, 4.89)
A(aux, met2, 8.585, 27.545, 0.3, 0.01, 3, 2, 14.58, 0.31)
A(aux, met2, 8.585, 33.235, 0.3, 0.01, 3, 2, 14.58, 0.31)
A(aux, met2, 48.925, 33.835, 0.3, 0.01, 4, 2, 1.58, 0.31)
A(aux, met2, 49.715, 34.435, 0.3, 0.01, 3, 2, 1.58, 0.31)
A(aux, met2, 80.525, 42.435, 0.37, 0.3, 1, 3, 0, 4.335)
A(aux, met2, 8.585, 49.24, 0.3, 0.01, 3, 2, 15.7, 0.31)
A(aux, met2, 8.585, 58.575, 0.3, 0.01, 3, 2, 15.7, 0.31)
R(aux, met2, [(79.125,0.45,79.495,0.75), (1.285,12.885,64.01,13.185), (20.655,13.475,20.955,13.485), (20.645,13.485,64.81,13.785), (20.655,13.785,20.955,13.795), (30.135,14.075,30.435,14.085), (40.185,14.075,40.485,14.085), (30.125,14.085,65.61,14.385), (30.135,14.385,30.435,14.395), (40.185,14.385,40.485,14.395), (37.985,14.675,38.285,14.685), (37.975,14.685,66.41,14.985), (37.985,14.985,38.285,14.995), (8.585,17.765,8.885,17.775), (8.575,17.775,67.21,18.075), (8.585,18.075,8.885,18.085), (16.435,18.365,16.735,18.375), (16.425,18.375,68.01,18.675), (16.435,18.675,16.735,18.685), (24.285,18.965,24.585,18.975), (39.985,18.965,40.285,18.975), (42.185,18.965,42.485,18.975), (24.275,18.975,68.81,19.275), (24.285,19.275,24.585,19.285), (39.985,19.275,40.285,19.285), (42.185,19.275,42.485,19.285), (32.135,19.565,32.435,19.575), (32.125,19.575,69.61,19.875), (32.135,19.875,32.435,19.885), (8.585,22.655,8.885,22.665), (34.335,22.655,34.635,22.665), (8.575,22.665,68.81,22.965), (8.585,22.965,8.885,22.975), (34.335,22.965,34.635,22.975), (16.435,23.255,16.735,23.265), (16.425,23.265,69.61,23.565), (16.435,23.565,16.735,23.575), (24.285,23.855,24.585,23.865), (24.275,23.865,68.01,24.165), (24.285,24.165,24.585,24.175), (32.135,24.455,32.435,24.465), (32.125,24.465,67.21,24.765), (32.135,24.765,32.435,24.775), (54.525,27.545,54.825,27.555), (8.575,27.555,70.41,27.855), (54.525,27.855,54.825,27.865), (52.325,28.145,52.625,28.155), (52.315,28.155,71.21,28.455), (52.325,28.455,52.625,28.465), (79.125,28.81,79.495,29.11), (47.235,33.235,47.535,33.245), (8.575,33.245,70.41,33.545), (47.235,33.545,47.535,33.555), (48.915,33.845,72.01,34.145), (49.705,34.445,72.81,34.745), (55.365,35.035,55.665,35.045), (55.355,35.045,73.61,35.345), (55.365,35.345,55.665,35.355), (80.525,35.7,80.895,36), (8.585,38.17,8.885,38.18), (8.575,38.18,65.61,38.48), (8.585,38.48,8.885,38.49), (16.435,38.77,16.735,38.78), (26.485,38.77,26.785,38.78), (16.425,38.78,64.01,39.08), (16.435,39.08,16.735,39.09), (26.485,39.08,26.785,39.09), (24.285,39.37,24.585,39.38), (24.275,39.38,68.81,39.68), (24.285,39.68,24.585,39.69), (35.965,39.97,36.265,39.98), (35.955,39.98,74.41,40.28), (35.965,40.28,36.265,40.29), (43.815,40.57,44.115,40.58), (43.805,40.58,75.21,40.88), (43.815,40.88,44.115,40.89), (51.665,41.17,51.965,41.18), (61.715,41.17,62.015,41.18), (51.655,41.18,71.21,41.48), (51.665,41.48,51.965,41.49), (61.715,41.48,62.015,41.49), (59.515,41.77,59.815,41.78), (59.505,41.78,76.01,42.08), (59.515,42.08,59.815,42.09), (8.585,44.905,8.885,44.915), (39.985,44.905,40.285,44.915), (8.575,44.915,76.81,45.215), (8.585,45.215,8.885,45.225), (39.985,45.215,40.285,45.225), (16.435,45.505,16.735,45.515), (32.135,45.505,32.435,45.515), (42.185,45.505,42.485,45.515), (16.425,45.515,66.41,45.815), (16.435,45.815,16.735,45.825), (32.135,45.815,32.435,45.825), (42.185,45.815,42.485,45.825), (24.285,46.105,24.585,46.115), (24.275,46.115,77.61,46.415), (24.285,46.415,24.585,46.425), (42.185,49.24,42.485,49.25), (8.575,49.25,66.41,49.55), (42.185,49.55,42.485,49.56), (16.435,49.84,16.735,49.85), (16.425,49.85,76.81,50.15), (16.435,50.15,16.735,50.16), (32.135,50.44,32.435,50.45), (32.125,50.45,78.41,50.75), (32.135,50.75,32.435,50.76), (42.185,58.575,42.485,58.585), (8.575,58.585,72.01,58.885), (42.185,58.885,42.485,58.895), (16.435,59.175,16.735,59.185), (32.135,59.175,32.435,59.185), (16.425,59.185,70.41,59.485), (16.435,59.485,16.735,59.495), (32.135,59.485,32.435,59.495)])
A(aux, via2, 79.21, 15.39, 0.2, 0.2, 1, 3, 0, 4.89)
A(aux, via2, 80.61, 42.485, 0.2, 0.2, 1, 3, 0, 4.335)
R(aux, via2, [(79.21,0.5,79.41,0.7), (63.71,12.935,63.91,13.135), (64.51,13.535,64.71,13.735), (65.31,14.135,65.51,14.335), (66.11,14.735,66.31,14.935), (66.91,17.825,67.11,18.025), (67.71,18.425,67.91,18.625), (68.51,19.025,68.71,19.225), (69.31,19.625,69.51,19.825), (68.51,22.715,68.71,22.915), (69.31,23.315,69.51,23.515), (67.71,23.915,67.91,24.115), (66.91,24.515,67.11,24.715), (70.11,27.605,70.31,27.805), (70.91,28.205,71.11,28.405), (79.21,28.86,79.41,29.06), (70.11,33.295,70.31,33.495), (71.71,33.895,71.91,34.095), (72.51,34.495,72.71,34.695), (73.31,35.095,73.51,35.295), (80.61,35.75,80.81,35.95), (65.31,38.23,65.51,38.43), (63.71,38.83,63.91,39.03), (68.51,39.43,68.71,39.63), (74.11,40.03,74.31,40.23), (74.91,40.63,75.11,40.83), (70.91,41.23,71.11,41.43), (75.71,41.83,75.91,42.03), (76.51,44.965,76.71,45.165), (66.11,45.565,66.31,45.765), (77.31,46.165,77.51,46.365), (66.11,49.3,66.31,49.5), (76.51,49.9,76.71,50.1), (78.11,50.5,78.31,50.7), (71.71,58.635,71.91,58.835), (70.11,59.235,70.31,59.435)])
R(aux, met3_5, [(65.31,38.23,65.51,38.43), (63.71,38.83,63.91,39.03), (68.51,39.43,68.71,39.63), (66.11,49.3,66.31,49.5), (70.11,59.235,70.31,59.435)])
R(aux, met3_pin, [(64.51,13.535,64.71,13.735), (69.31,23.315,69.51,23.515), (67.71,23.915,67.91,24.115), (66.91,24.515,67.11,24.715), (79.21,28.86,79.41,29.06), (72.51,34.495,72.71,34.695), (73.31,35.095,73.51,35.295), (74.11,40.03,74.31,40.23), (74.91,40.63,75.11,40.83), (70.91,41.23,71.11,41.43), (75.71,41.83,75.91,42.03), (77.31,46.165,77.51,46.365), (76.51,49.9,76.71,50.1), (78.11,50.5,78.31,50.7), (80.61,51.155,80.81,51.355), (71.71,58.635,71.91,58.835)])
A(aux, met3, 67.61, 0.4, 0.4, 59.135, 3, 1, 1.6, 0)
A(aux, met3, 71.61, 0.4, 0.4, 59.135, 9, 1, 0.8, 0)
R(aux, met3, [(64.41,0.4,64.81,59.535), (66.81,0.4,67.21,59.535), (78.81,0.4,79.81,59.535), (80.21,0.4,81.21,59.535), (63.61,12.835,64.01,39.13), (65.21,14.035,65.61,38.53), (66.01,14.635,66.41,49.6), (68.41,18.925,68.81,39.73), (70.01,27.505,70.41,59.535)])
A(aux, nsdm, -0.125, 42.315, 42.73, 0.54, 1, 3, 0, 4.335)
R(aux, nsdm, [(1.175,1.07,18.875,12.32), (22.725,1.07,38.405,2.32), (1.175,15.96,40.405,17.21), (1.175,20.85,32.555,22.1), (1.175,25.74,52.745,26.99), (1.175,29.43,45.455,30.68), (48.805,29.43,54.085,32.68), (-0.125,35.58,62.135,36.12)])
R(aux, psdm, [(-0.125,0.33,40.605,0.87), (-0.125,15.22,42.605,15.76), (-0.125,20.11,34.755,20.65), (-0.125,25,54.945,25.54), (-0.125,28.69,55.785,29.23), (1.175,36.32,24.705,37.57), (28.555,36.32,59.935,37.57), (1.175,43.055,40.405,44.305), (1.175,47.39,40.405,48.64), (1.175,51.725,40.405,57.975)])
A(aux, npc, 1.705, 12.285, 3.77, 0.37, 4, 1, 4.29, 0)
A(aux, npc, 1.675, 17.175, 6.83, 0.37, 5, 2, 7.85, 27.14)
A(aux, npc, 1.675, 22.065, 6.83, 0.37, 4, 1, 7.85, 0)
A(aux, npc, 1.675, 26.955, 6.83, 0.37, 7, 1, 7.29, 0)
A(aux, npc, 1.675, 30.645, 6.83, 0.37, 6, 1, 7.29, 0)
A(aux, npc, 49.285, 32.645, 0.37, 0.37, 6, 1, 0.79, 0)
A(aux, npc, 1.675, 37.58, 6.83, 0.37, 3, 1, 7.85, 0)
A(aux, npc, 29.055, 37.58, 6.83, 0.37, 4, 1, 7.85, 0)
A(aux, npc, 1.675, 48.65, 6.83, 0.37, 5, 2, 7.85, 9.335)
R(aux, npc, [(23.225,2.285,30.055,2.655), (31.075,2.285,37.905,2.655)])
A(aux, lvtn, 1.41, 51.67, 7.36, 6.36, 5, 1, 7.85, 0)
R(aux, lvtn, [(1.41,25.685,52.51,27.045), (1.41,29.375,45.22,30.735), (49.04,29.375,53.85,32.735)])
aux.add(gdstk.Label('b1', (63.81,38.93), layer=70, texttype=5))
aux.add(gdstk.Label('b2', (65.41,38.33), layer=70, texttype=5))
aux.add(gdstk.Label('b3', (68.61,39.53), layer=70, texttype=5))
aux.add(gdstk.Label('b4', (66.21,49.4), layer=70, texttype=5))
aux.add(gdstk.Label('c_net1', (70.21,59.335), layer=70, texttype=5))
aux.add(gdstk.Label('VDPWR', (80.71,51.255), layer=70, texttype=5))
aux.add(gdstk.Label('VGND', (79.31,28.96), layer=70, texttype=5))
aux.add(gdstk.Label('MN_TAIL_BIAS', (64.61,13.635), layer=70, texttype=5))
aux.add(gdstk.Label('Vbranch1', (69.41,23.415), layer=70, texttype=5))
aux.add(gdstk.Label('Vbranch2', (67.81,24.015), layer=70, texttype=5))
aux.add(gdstk.Label('Vbranch3', (67.01,24.615), layer=70, texttype=5))
aux.add(gdstk.Label('x1_iy_lin', (76.61,50), layer=70, texttype=5))
aux.add(gdstk.Label('x1_ix_lin', (78.21,50.6), layer=70, texttype=5))
aux.add(gdstk.Label('x1_iy_sq', (77.41,46.265), layer=70, texttype=5))
aux.add(gdstk.Label('x1_ix_sq', (74.21,40.13), layer=70, texttype=5))
aux.add(gdstk.Label('x1_iz_sq', (75.01,40.73), layer=70, texttype=5))
aux.add(gdstk.Label('x1_iz_lin', (75.81,41.93), layer=70, texttype=5))
aux.add(gdstk.Label('v_mir_out', (71.01,41.33), layer=70, texttype=5))
aux.add(gdstk.Label('vi_vmir', (71.81,58.735), layer=70, texttype=5))
aux.add(gdstk.Label('vi_net1', (73.41,35.195), layer=70, texttype=5))
aux.add(gdstk.Label('vi_net2', (72.61,34.595), layer=70, texttype=5))

lib.write_gds('aux.gds')
